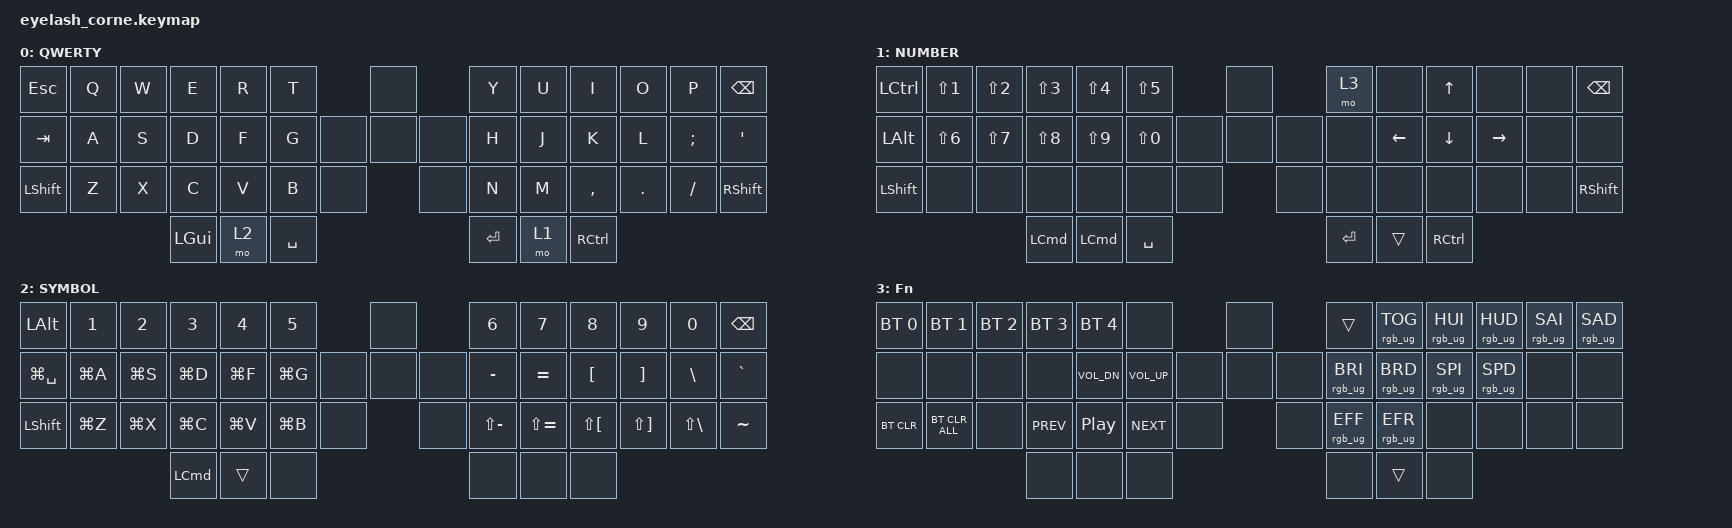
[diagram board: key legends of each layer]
#define ZMK_POINTING_DEFAULT_MOVE_VAL 1200  // 600
#define ZMK_POINTING_DEFAULT_SCRL_VAL 25   // 10

#include <input/processors.dtsi>
#include <zephyr/dt-bindings/input/input-event-codes.h>
#include <behaviors.dtsi>
#include <dt-bindings/zmk/bt.h>
#include <dt-bindings/zmk/keys.h>
#include <dt-bindings/zmk/pointing.h>
#include <dt-bindings/zmk/rgb.h>

&mmv_input_listener { input-processors = <&zip_xy_scaler 2 1>; };

&msc_input_listener { input-processors = <&zip_scroll_scaler 2 1>; };

&msc {
    acceleration-exponent = <1>;      // 0
    time-to-max-speed-ms = <100>;       // 300
    delay-ms = <0>;                   // 0
};

&mmv {
    time-to-max-speed-ms = <500>;
    acceleration-exponent = <1>;
    trigger-period-ms = <16>;
};

/ {
    behaviors {
        td0: td0 {
            compatible = "zmk,behavior-tap-dance";
            display-name = "Shift/Caps Lock Tap Dance";
            #binding-cells = <0>;
            bindings = <&kp LEFT_SHIFT>, <&kp CAPS>;
        };
    };

    rgb_encoder: rgb_encoder {
        compatible = "zmk,behavior-sensor-rotate";
        #sensor-binding-cells = <0>;
        bindings = <&rgb_ug RGB_BRI>, <&rgb_ug RGB_BRD>;
    };

    scroll_encoder: scroll_encoder {
        compatible = "zmk,behavior-sensor-rotate";
        #sensor-binding-cells = <0>;
        bindings = <&msc SCRL_DOWN>, <&msc SCRL_UP>;

        tap-ms = <100>;
    };

    keymap {
        compatible = "zmk,keymap";

        default_layer {
            display-name = "QWERTY";
            bindings = <
&kp ESC         &kp Q  &kp W  &kp E     &kp R  &kp T                      &none         &kp Y      &kp U  &kp I              &kp O    &kp P     &kp BSPC
&kp TAB         &kp A  &kp S  &kp D     &kp F  &kp G               &none  &none  &none  &kp H      &kp J  &kp K              &kp L    &kp SEMI  &kp SQT
&kp LEFT_SHIFT  &kp Z  &kp X  &kp C     &kp V  &kp B      &none           &none         &kp N      &kp M  &kp COMMA          &kp DOT  &kp FSLH  &kp RIGHT_SHIFT
                              &kp LGUI  &mo 2  &kp SPACE                                &kp ENTER  &mo 1  &kp RIGHT_CONTROL
            >;
        };

        Nav {
            display-name = "NUMBER";
            bindings = <
&kp LCTRL   &kp LS(N1)  &kp LS(N2)  &kp LS(N3)  &kp LS(N4)  &kp LS(N5)                  &none         &mo 3      &none     &kp UP     &none      &none  &kp BSPC
&kp LALT    &kp LS(N6)  &kp LS(N7)  &kp LS(N8)  &kp LS(N9)  &kp LS(N0)           &none  &none  &none  &none      &kp LEFT  &kp DOWN   &kp RIGHT  &none  &none
&kp LSHIFT  &none       &none       &none       &none       &none       &none           &none         &none      &none     &none      &none      &none  &kp RSHFT
                                    &kp LCMD    &kp LCMD    &kp SPACE                                 &kp ENTER  &trans    &kp RCTRL
            >;
        };

        Num {
            display-name = "SYMBOL";
            bindings = <
&kp LALT       &kp N1     &kp N2     &kp N3     &kp N4     &kp N5                     &none         &kp N6         &kp N7         &kp N8        &kp N9        &kp N0        &kp BSPC
&kp LG(SPACE)  &kp LG(A)  &kp LG(S)  &kp LG(D)  &kp LG(F)  &kp LG(G)           &none  &none  &none  &kp MINUS      &kp EQUAL      &kp LBKT      &kp RBKT      &kp BSLH      &kp GRAVE
&kp LSHIFT     &kp LG(Z)  &kp LG(X)  &kp LG(C)  &kp LG(V)  &kp LG(B)  &none           &none         &kp LS(MINUS)  &kp LS(EQUAL)  &kp LS(LBKT)  &kp LS(RBKT)  &kp LS(BSLH)  &kp TILDE
                                     &kp LCMD   &trans     &none                                    &none          &none          &none
            >;
        };

        Media {
            display-name = "Fn";
            bindings = <
&bt BT_SEL 0  &bt BT_SEL 1    &bt BT_SEL 2  &bt BT_SEL 3  &bt BT_SEL 4  &none                         &none         &trans           &rgb_ug RGB_TOG  &rgb_ug RGB_HUI  &rgb_ug RGB_HUD  &rgb_ug RGB_SAI  &rgb_ug RGB_SAD
&none         &none           &none         &none         &kp C_VOL_DN  &kp C_VOL_UP           &none  &none  &none  &rgb_ug RGB_BRI  &rgb_ug RGB_BRD  &rgb_ug RGB_SPI  &rgb_ug RGB_SPD  &none            &none
&bt BT_CLR    &bt BT_CLR_ALL  &none         &kp C_PREV    &kp C_PP      &kp C_NEXT    &none           &none         &rgb_ug RGB_EFF  &rgb_ug RGB_EFR  &none            &none            &none            &none
                                            &none         &none         &none                                       &none            &trans           &none
            >;
        };
    };
};
